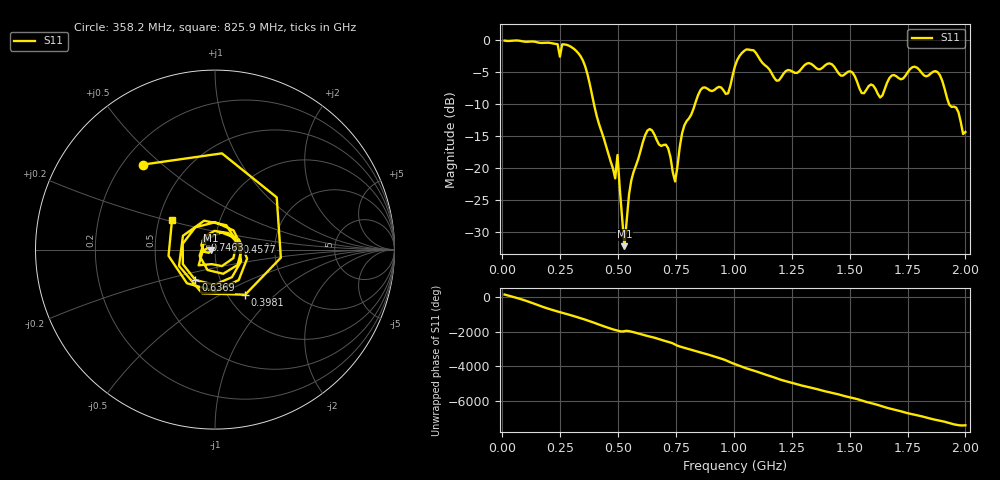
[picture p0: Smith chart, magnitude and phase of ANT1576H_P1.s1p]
!Created with skrf (http://scikit-rf.org).
# Hz S RI R 50.0
!freq ReS11 ImS11
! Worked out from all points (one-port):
!   201 points, 10 MHz to 2 GHz, reference 50 ohm
!   lowest |S11| = -32.2 dB at 527.4 MHz (marker M1), VSWR 1.05, Z = 47.6 - j0.257 ohm
!   |S11| at or under -10 dB: 395.8 MHz to 832.3 MHz (436.5 MHz wide, 71.1 % of centre); 1.929 GHz to end of sweep
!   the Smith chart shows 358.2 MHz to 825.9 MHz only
!   S11 on the Smith chart (normalised r, x): 358.2 MHz: 0.28, +0.43; 398.1 MHz: 1.20, -0.67; 457.8 MHz: 1.27, +0.11; 636.9 MHz: 0.76, -0.27; 746.3 MHz: 0.89, +0.10; 825.9 MHz: 0.59, +0.21
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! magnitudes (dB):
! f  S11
! 10 MHz  -0.1
! 248.8 MHz  -2.6
! 258.8 MHz  -0.7
! 358.2 MHz  -4.1
! 398.1 MHz  -10.4
! 457.8 MHz  -17.7
! 487.6 MHz  -21.6
! 497.6 MHz  -18.0
! 507.5 MHz  -23.3
! 527.4 MHz  -32.2
! 557.2 MHz  -21.9
! 636.9 MHz  -13.9
! 716.5 MHz  -16.9
! 746.3 MHz  -22.1
! 756.2 MHz  -19.8
! 776.1 MHz  -14.6
! 825.9 MHz  -10.7
! 865.7 MHz  -7.4
! 975.1 MHz  -8.3
! 1.005 GHz  -4.1
! 1.065 GHz  -1.5
! 1.184 GHz  -6.3
! 1.254 GHz  -4.9
! 1.502 GHz  -4.9
! 1.632 GHz  -9.0
! 1.751 GHz  -5.0
! 1.881 GHz  -5.0
! 2 GHz  -14.4
